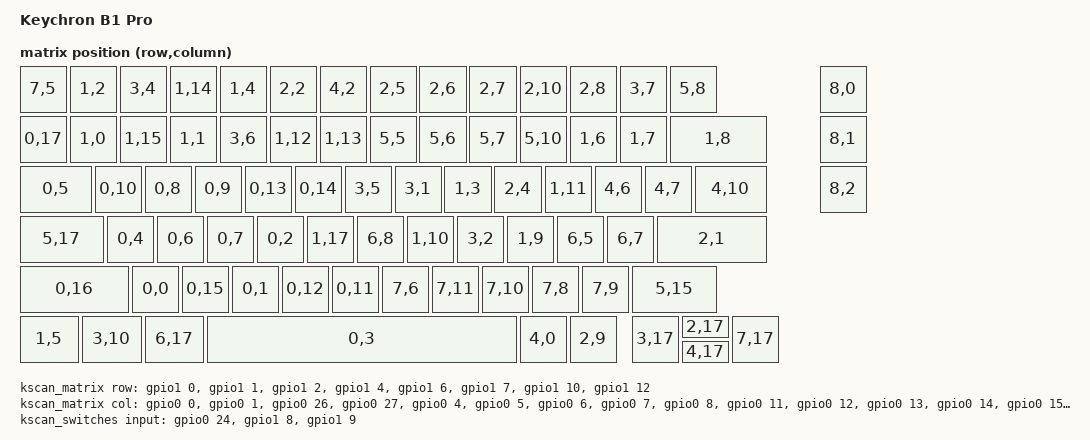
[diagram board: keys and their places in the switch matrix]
/*
 * Keychron B1 Pro, US/ANSI, 2025 revision (stock USB PID 0x071a, firmware
 * v1.0.1): nRF52840 QIAA.
 *
 * Pin map, flash layout and battery divider are taken from Keychron's own
 * ZMK fork (github.com/Keychron/zmk, branch keychron_bpro,
 * app/boards/arm/keychron/keychron.dts), and the key positions from its b1n
 * shield (app/boards/shields/keychron/b1n/us/keychron_b1_usn.overlay).
 *
 * Matrix polarity is NOT from that tree. Both are checked against the stock
 * v1.0.1 image read off a 0x071a unit (CURRENT.UF2): it holds the b1n
 * matrix-to-position table, and its row GPIOs are ACTIVE_LOW | PULL_UP and its
 * column GPIOs ACTIVE_LOW. Keychron's source, and their downloadable v1.00 image
 * for the same PID, are active-high with pull-downs, so the PCB changed within
 * 0x071a. The original PID 0x0711 board uses Keychron's b1 map (b1/us) and
 * active-high pins, and is not described here.
 *
 * Built as is, this is a standalone keyboard on upstream ZMK: USB and BLE, the
 * 77-key matrix, and the Mac/Win and BT/2.4G slide switches as three extra
 * positions (keychron-config). The roBakesb_keychron shield reuses the matrix
 * as an ESB peripheral and turns the switches and this layout off.
 *
 * Left out on purpose: the two CKLED2001 I2C LED drivers (P0.26/P0.27, which
 * are matrix columns 2 and 3 on this board), the Num/Caps/2.4G indicator LEDs
 * and the charge status pins (P0.21, P0.22).
 */

/dts-v1/;
#include <nordic/nrf52840_qiaa.dtsi>
#include <common/nordic/nrf52840_uf2_boot_mode.dtsi>
#include <dt-bindings/zmk/matrix_transform.h>
#include <physical_layouts.dtsi>

/ {
	model = "Keychron B1 Pro";
	compatible = "keychron,b1-pro";

	chosen {
		zephyr,code-partition = &code_partition;
		zephyr,sram = &sram0;
		zephyr,flash = &flash0;
		zmk,battery = &vbatt;
		zmk,physical-layout = &keychron_b1_pro_layout;
	};

	/* led0 is what ROBA_SELF_BATTERY_LED blinks. All three are active-low. */
	aliases {
		led0 = &led_red;
		led1 = &led_green;
		led2 = &led_blue;
	};

	leds {
		compatible = "gpio-leds";
		led_red: led_red {
			gpios = <&gpio0 28 GPIO_ACTIVE_LOW>;
		};
		led_green: led_green {
			gpios = <&gpio0 30 GPIO_ACTIVE_LOW>;
		};
		led_blue: led_blue {
			gpios = <&gpio0 29 GPIO_ACTIVE_LOW>;
		};
	};

	/* Equal 510k / 510k divider on AIN7 (P0.31): the pin sees half of VBAT. */
	vbatt: vbatt {
		compatible = "zmk,battery-voltage-divider";
		io-channels = <&adc 7>;
		output-ohms = <510000>;
		full-ohms = <(510000 + 510000)>;
	};

	/*
	 * 8 rows x 18 columns, col2row, rows are the inputs. Active-low throughout:
	 * a column is driven low and a pressed key pulls its row down against the
	 * pull-up (see the header).
	 *
	 * The matrix has no per-key diodes, so the columns are open-drain: a column
	 * pulls low only while it is being scanned and floats otherwise. Push-pull,
	 * the idle columns sit driven high, and two keys held on one row (Left
	 * Shift and R are both row 0) short a low column to a high one; the row
	 * reads half-way and the keys chatter. Keychron's driver does the same thing
	 * by switching each column back to an input after scanning it. Without
	 * diodes, three keys on the corners of a rectangle still ghost the fourth;
	 * the stock firmware hides that in software and upstream ZMK does not.
	 *
	 * P0.18 (column 16) is the chip's RESET pin and
	 * P0.00/P0.01 (columns 0/1) are the 32 kHz crystal pins, hence
	 * GPIO_AS_PINRESET=n and the RC clock in the defconfig. Debounce figures
	 * are Keychron's.
	 */
	kscan_matrix: kscan_matrix {
		compatible = "zmk,kscan-gpio-matrix";
		wakeup-source;
		diode-direction = "col2row";
		debounce-scan-period-ms = <4>;
		debounce-press-ms = <8>;
		debounce-release-ms = <8>;
		row-gpios
			= <&gpio1 0 (GPIO_ACTIVE_LOW | GPIO_PULL_UP)>
			, <&gpio1 1 (GPIO_ACTIVE_LOW | GPIO_PULL_UP)>
			, <&gpio1 2 (GPIO_ACTIVE_LOW | GPIO_PULL_UP)>
			, <&gpio1 4 (GPIO_ACTIVE_LOW | GPIO_PULL_UP)>
			, <&gpio1 6 (GPIO_ACTIVE_LOW | GPIO_PULL_UP)>
			, <&gpio1 7 (GPIO_ACTIVE_LOW | GPIO_PULL_UP)>
			, <&gpio1 10 (GPIO_ACTIVE_LOW | GPIO_PULL_UP)>
			, <&gpio1 12 (GPIO_ACTIVE_LOW | GPIO_PULL_UP)>
			;
		col-gpios
			= <&gpio0 0 (GPIO_ACTIVE_LOW | GPIO_OPEN_DRAIN)>
			, <&gpio0 1 (GPIO_ACTIVE_LOW | GPIO_OPEN_DRAIN)>
			, <&gpio0 26 (GPIO_ACTIVE_LOW | GPIO_OPEN_DRAIN)>
			, <&gpio0 27 (GPIO_ACTIVE_LOW | GPIO_OPEN_DRAIN)>
			, <&gpio0 4 (GPIO_ACTIVE_LOW | GPIO_OPEN_DRAIN)>
			, <&gpio0 5 (GPIO_ACTIVE_LOW | GPIO_OPEN_DRAIN)>
			, <&gpio0 6 (GPIO_ACTIVE_LOW | GPIO_OPEN_DRAIN)>
			, <&gpio0 7 (GPIO_ACTIVE_LOW | GPIO_OPEN_DRAIN)>
			, <&gpio0 8 (GPIO_ACTIVE_LOW | GPIO_OPEN_DRAIN)>
			, <&gpio0 11 (GPIO_ACTIVE_LOW | GPIO_OPEN_DRAIN)>
			, <&gpio0 12 (GPIO_ACTIVE_LOW | GPIO_OPEN_DRAIN)>
			, <&gpio0 13 (GPIO_ACTIVE_LOW | GPIO_OPEN_DRAIN)>
			, <&gpio0 14 (GPIO_ACTIVE_LOW | GPIO_OPEN_DRAIN)>
			, <&gpio0 15 (GPIO_ACTIVE_LOW | GPIO_OPEN_DRAIN)>
			, <&gpio0 16 (GPIO_ACTIVE_LOW | GPIO_OPEN_DRAIN)>
			, <&gpio0 17 (GPIO_ACTIVE_LOW | GPIO_OPEN_DRAIN)>
			, <&gpio0 18 (GPIO_ACTIVE_LOW | GPIO_OPEN_DRAIN)>
			, <&gpio0 20 (GPIO_ACTIVE_LOW | GPIO_OPEN_DRAIN)>
			;
	};

	/*
	 * The slide switches, read as keys the way Keychron's firmware does: a
	 * position is "held" while the switch sits on it. Mac/Win reads held on
	 * Win; BT and 2.4G each read held on their own position, so Cable is
	 * neither. Same pins and flags as the stock v1.0.1 image: active-low with
	 * no pull, so the board has its own.
	 */
	kscan_switches: kscan_switches {
		compatible = "zmk,kscan-gpio-direct";
		wakeup-source;
		input-gpios
			= <&gpio0 24 GPIO_ACTIVE_LOW>
			, <&gpio1 8 GPIO_ACTIVE_LOW>
			, <&gpio1 9 GPIO_ACTIVE_LOW>
			;
	};

	kscan_composite: kscan_composite {
		compatible = "zmk,kscan-composite";
		wakeup-source;
		rows = <9>;
		columns = <18>;

		matrix {
			kscan = <&kscan_matrix>;
		};

		switches {
			kscan = <&kscan_switches>;
			row-offset = <8>;
		};
	};

	/*
	 * Keychron's RC() numbers, reordered row by row as the keycaps read, with
	 * the bottom row's arrows last as left, up, down, right. Positions 77-79
	 * are the Mac/Win, BT and 2.4G switches.
	 */
	keychron_b1_pro_transform: keychron_b1_pro_transform {
		compatible = "zmk,matrix-transform";
		rows = <9>;
		columns = <18>;
		map = <
			/* Esc, F1-F12, Del */
			RC(7,5) RC(1,2) RC(3,4) RC(1,14) RC(1,4) RC(2,2) RC(4,2) RC(2,5) RC(2,6) RC(2,7) RC(2,10) RC(2,8) RC(3,7) RC(5,8)
			/* number row */
			RC(0,17) RC(1,0) RC(1,15) RC(1,1) RC(3,6) RC(1,12) RC(1,13) RC(5,5) RC(5,6) RC(5,7) RC(5,10) RC(1,6) RC(1,7) RC(1,8)
			/* Tab row */
			RC(0,5) RC(0,10) RC(0,8) RC(0,9) RC(0,13) RC(0,14) RC(3,5) RC(3,1) RC(1,3) RC(2,4) RC(1,11) RC(4,6) RC(4,7) RC(4,10)
			/* home row */
			RC(5,17) RC(0,4) RC(0,6) RC(0,7) RC(0,2) RC(1,17) RC(6,8) RC(1,10) RC(3,2) RC(1,9) RC(6,5) RC(6,7) RC(2,1)
			/* shift row */
			RC(0,16) RC(0,0) RC(0,15) RC(0,1) RC(0,12) RC(0,11) RC(7,6) RC(7,11) RC(7,10) RC(7,8) RC(7,9) RC(5,15)
			/* bottom row */
			RC(1,5) RC(3,10) RC(6,17) RC(0,3) RC(4,0) RC(2,9) RC(3,17) RC(2,17) RC(4,17) RC(7,17)
			/* switches: Mac/Win, BT, 2.4G */
			RC(8,0) RC(8,1) RC(8,2)
		>;
	};

	keychron_b1_pro_layout: keychron_b1_pro_layout {
		compatible = "zmk,physical-layout";
		display-name = "B1 Pro ANSI";
		kscan = <&kscan_composite>;
		transform = <&keychron_b1_pro_transform>;
		keys  //                     w   h    x    y rot   rx   ry
			= <&key_physical_attrs 100 100    0    0   0    0    0>
			, <&key_physical_attrs 100 100  100    0   0    0    0>
			, <&key_physical_attrs 100 100  200    0   0    0    0>
			, <&key_physical_attrs 100 100  300    0   0    0    0>
			, <&key_physical_attrs 100 100  400    0   0    0    0>
			, <&key_physical_attrs 100 100  500    0   0    0    0>
			, <&key_physical_attrs 100 100  600    0   0    0    0>
			, <&key_physical_attrs 100 100  700    0   0    0    0>
			, <&key_physical_attrs 100 100  800    0   0    0    0>
			, <&key_physical_attrs 100 100  900    0   0    0    0>
			, <&key_physical_attrs 100 100 1000    0   0    0    0>
			, <&key_physical_attrs 100 100 1100    0   0    0    0>
			, <&key_physical_attrs 100 100 1200    0   0    0    0>
			, <&key_physical_attrs 100 100 1300    0   0    0    0>
			, <&key_physical_attrs 100 100    0  100   0    0    0>
			, <&key_physical_attrs 100 100  100  100   0    0    0>
			, <&key_physical_attrs 100 100  200  100   0    0    0>
			, <&key_physical_attrs 100 100  300  100   0    0    0>
			, <&key_physical_attrs 100 100  400  100   0    0    0>
			, <&key_physical_attrs 100 100  500  100   0    0    0>
			, <&key_physical_attrs 100 100  600  100   0    0    0>
			, <&key_physical_attrs 100 100  700  100   0    0    0>
			, <&key_physical_attrs 100 100  800  100   0    0    0>
			, <&key_physical_attrs 100 100  900  100   0    0    0>
			, <&key_physical_attrs 100 100 1000  100   0    0    0>
			, <&key_physical_attrs 100 100 1100  100   0    0    0>
			, <&key_physical_attrs 100 100 1200  100   0    0    0>
			, <&key_physical_attrs 200 100 1300  100   0    0    0>
			, <&key_physical_attrs 150 100    0  200   0    0    0>
			, <&key_physical_attrs 100 100  150  200   0    0    0>
			, <&key_physical_attrs 100 100  250  200   0    0    0>
			, <&key_physical_attrs 100 100  350  200   0    0    0>
			, <&key_physical_attrs 100 100  450  200   0    0    0>
			, <&key_physical_attrs 100 100  550  200   0    0    0>
			, <&key_physical_attrs 100 100  650  200   0    0    0>
			, <&key_physical_attrs 100 100  750  200   0    0    0>
			, <&key_physical_attrs 100 100  850  200   0    0    0>
			, <&key_physical_attrs 100 100  950  200   0    0    0>
			, <&key_physical_attrs 100 100 1050  200   0    0    0>
			, <&key_physical_attrs 100 100 1150  200   0    0    0>
			, <&key_physical_attrs 100 100 1250  200   0    0    0>
			, <&key_physical_attrs 150 100 1350  200   0    0    0>
			, <&key_physical_attrs 175 100    0  300   0    0    0>
			, <&key_physical_attrs 100 100  175  300   0    0    0>
			, <&key_physical_attrs 100 100  275  300   0    0    0>
			, <&key_physical_attrs 100 100  375  300   0    0    0>
			, <&key_physical_attrs 100 100  475  300   0    0    0>
			, <&key_physical_attrs 100 100  575  300   0    0    0>
			, <&key_physical_attrs 100 100  675  300   0    0    0>
			, <&key_physical_attrs 100 100  775  300   0    0    0>
			, <&key_physical_attrs 100 100  875  300   0    0    0>
			, <&key_physical_attrs 100 100  975  300   0    0    0>
			, <&key_physical_attrs 100 100 1075  300   0    0    0>
			, <&key_physical_attrs 100 100 1175  300   0    0    0>
			, <&key_physical_attrs 225 100 1275  300   0    0    0>
			, <&key_physical_attrs 225 100    0  400   0    0    0>
			, <&key_physical_attrs 100 100  225  400   0    0    0>
			, <&key_physical_attrs 100 100  325  400   0    0    0>
			, <&key_physical_attrs 100 100  425  400   0    0    0>
			, <&key_physical_attrs 100 100  525  400   0    0    0>
			, <&key_physical_attrs 100 100  625  400   0    0    0>
			, <&key_physical_attrs 100 100  725  400   0    0    0>
			, <&key_physical_attrs 100 100  825  400   0    0    0>
			, <&key_physical_attrs 100 100  925  400   0    0    0>
			, <&key_physical_attrs 100 100 1025  400   0    0    0>
			, <&key_physical_attrs 100 100 1125  400   0    0    0>
			, <&key_physical_attrs 175 100 1225  400   0    0    0>
			, <&key_physical_attrs 125 100    0  500   0    0    0>
			, <&key_physical_attrs 125 100  125  500   0    0    0>
			, <&key_physical_attrs 125 100  250  500   0    0    0>
			, <&key_physical_attrs 625 100  375  500   0    0    0>
			, <&key_physical_attrs 100 100 1000  500   0    0    0>
			, <&key_physical_attrs 100 100 1100  500   0    0    0>
			, <&key_physical_attrs 100 100 1225  500   0    0    0>
			, <&key_physical_attrs 100  50 1325  500   0    0    0>
			, <&key_physical_attrs 100  50 1325  550   0    0    0>
			, <&key_physical_attrs 100 100 1425  500   0    0    0>
			, <&key_physical_attrs 100 100 1600    0   0    0    0>
			, <&key_physical_attrs 100 100 1600  100   0    0    0>
			, <&key_physical_attrs 100 100 1600  200   0    0    0>
			;
	};
};

&adc {
	status = "okay";
};

&gpiote {
	status = "okay";
};

&gpio0 {
	status = "okay";
};

&gpio1 {
	status = "okay";
};

&radio {
	status = "okay";
};

zephyr_udc0: &usbd {
	compatible = "nordic,nrf-usbd";
	status = "okay";
};

/*
 * Keychron's layout, kept as-is so the image is shaped the way the retail
 * bootloader expects: Adafruit nRF52 bootloader at 0xf4000 with no SoftDevice,
 * so the application starts right after the 4 KiB MBR.
 */
&flash0 {
	partitions {
		compatible = "fixed-partitions";
		#address-cells = <1>;
		#size-cells = <1>;

		sd_partition: partition@0 {
			label = "mbr";
			reg = <0x00000000 0x00001000>;
		};

		code_partition: partition@1000 {
			label = "code_partition";
			reg = <0x00001000 0x000d3000>;
		};

		storage_partition: partition@d4000 {
			label = "storage";
			reg = <0x000d4000 0x00020000>;
		};

		boot_partition: partition@f4000 {
			label = "adafruit_boot";
			reg = <0x000f4000 0x0000c000>;
		};
	};
};
